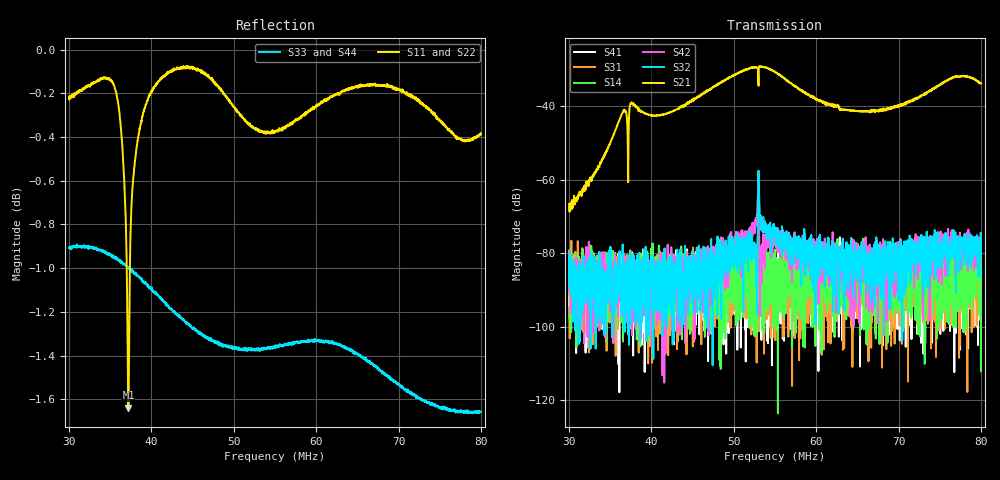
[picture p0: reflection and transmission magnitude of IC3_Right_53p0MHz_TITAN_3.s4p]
#  HZ  S  DB  R  50.00
! Rohde & Schwarz Vector Network Analyzer
! Rohde-Schwarz,ZNB8-4Port,1311601044102961,2.82
! Created: UTC 2/8/2019, 3:15:28 PM
! freq[Hz]  db:S11  ang:S11  db:S12  ang:S12  db:S13  ang:S13  db:S14  ang:S14
!  db:S21  ang:S21  db:S22  ang:S22  db:S23  ang:S23  db:S24  ang:S24
!  db:S31  ang:S31  db:S32  ang:S32  db:S33  ang:S33  db:S34  ang:S34
!  db:S41  ang:S41  db:S42  ang:S42  db:S43  ang:S43  db:S44  ang:S44
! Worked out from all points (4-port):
!   2001 points, 30 MHz to 80 MHz, reference 50 ohm
!   strongest paths, dB at 30 MHz, 42.5 MHz, 55 MHz, 67.5 MHz, 80 MHz:
!     S21: -66.6, -41.4, -30.5, -41.3, -33.8
!     S32: -88.3, -83.6, -75.1, -79.6, -79.2
!     S42: -81.7, -99.1, -77.3, -99.1, -80.1
!     S14: -88.1, -94.5, -96.3, -97.1, -112.0
!     S31: -83.5, -92.4, -90.7, -81.1, -94.7
!     S41: -94.3, -93.5, -94.9, -90.8, -89.7
!   lowest |S11| = -1.6 dB at 37.2 MHz (marker M1), VSWR 10.63, Z = 125 + j221 ohm
!   |S11| at or under -10 dB: nowhere
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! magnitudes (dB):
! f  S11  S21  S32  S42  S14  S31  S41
! 30 MHz  -0.2  -66.6  -88.3  -81.7  -88.1  -83.5  -94.3
! 37.2 MHz  -1.6  -52.4  -84.1  -90.2  -82.9  -90.9  -94.8
! 49.08 MHz  -0.2  -32.8  -79.3  -78.3  -90.1  -82.4  -107.3
! 52.83 MHz  -0.4  -29.4  -96.6  -70.7  -84.6  -94.5  -86.7
! 53.35 MHz  -0.4  -29.2  -71.7  -85.2  -88.9  -86.3  -103.6
! 65 MHz  -0.2  -41.3  -85.6  -87.5  -82.6  -91.8  -91.0
! 80 MHz  -0.4  -33.8  -79.2  -80.1  -112.0  -94.7  -89.7
